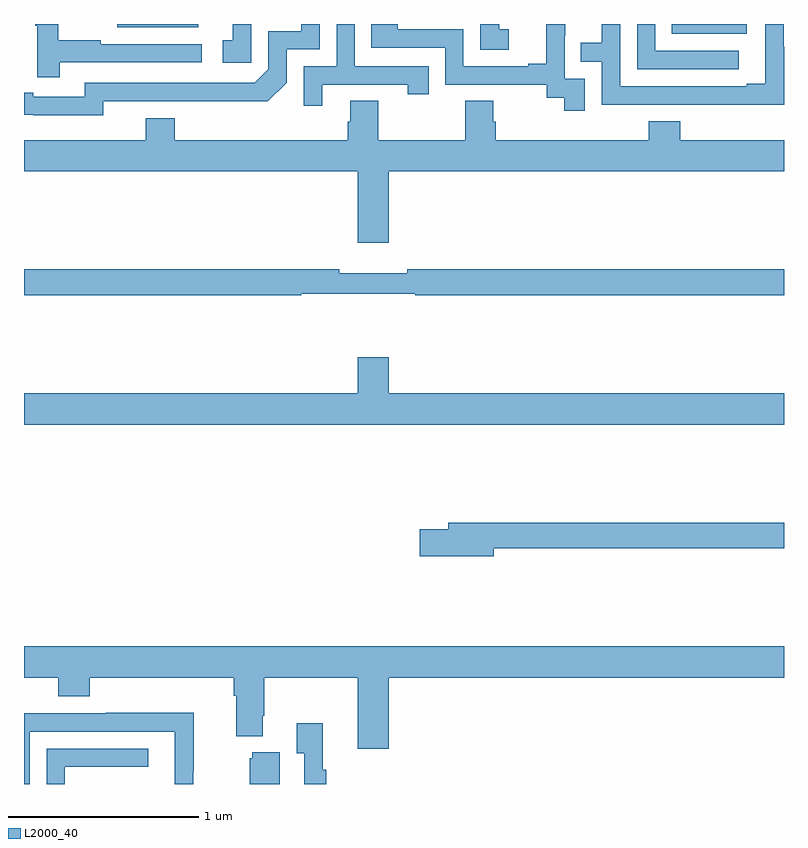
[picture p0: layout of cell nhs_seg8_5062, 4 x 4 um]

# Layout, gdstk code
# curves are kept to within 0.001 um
import gdstk
lib = gdstk.Library(unit=1e-6, precision=1e-09)
def R(c, l, rs):  # rectangles x0, y0, x1, y1
    for r in rs: c.add(gdstk.rectangle(r[:2], r[2:], *l))
def P(c, l, *ps):  # polygons
    for p in ps: c.add(gdstk.Polygon(p, *l))
L2000_40 = (2000, 40)

nhs_seg8_5062 = lib.new_cell('nhs_seg8_5062')
R(nhs_seg8_5062, L2000_40, [(418.408,1159.85,418.804,1159.9), (415.491,1159.883,415.918,1159.9)])
P(nhs_seg8_5062, L2000_40, [(415.187,1159.698),(415.936,1159.698),(415.936,1159.794),(415.403,1159.794),(415.403,1159.814),(415.18,1159.814),(415.18,1159.9),(415.059,1159.9),(415.059,1159.891),(415.07,1159.891),(415.07,1159.62),(415.187,1159.62)],
  [(419,1159.781),(418.998,1159.781),(418.998,1159.9),(418.902,1159.9),(418.902,1159.585),(418.805,1159.585),(418.805,1159.572),(418.137,1159.572),(418.137,1159.9),(418.041,1159.9),(418.041,1159.802),(417.931,1159.802),(417.931,1159.701),(418.041,1159.701),(418.041,1159.476),(418.537,1159.476),(418.537,1159.475),(419,1159.475)],
  [(416.196,1159.9),(416.099,1159.9),(416.099,1159.815),(416.046,1159.815),(416.046,1159.695),(416.196,1159.695)],
  [(415.416,1159.494),(416.284,1159.493),(416.382,1159.59),(416.382,1159.767),(416.556,1159.767),(416.556,1159.9),(416.459,1159.9),(416.459,1159.863),(416.286,1159.863),(416.286,1159.662),(416.214,1159.59),(415.32,1159.59),(415.32,1159.518),(415.048,1159.518),(415.048,1159.538),(415,1159.538),(415,1159.422),(415.416,1159.421)],
  [(418.762,1159.758),(418.323,1159.758),(418.323,1159.9),(418.227,1159.9),(418.227,1159.662),(418.762,1159.662)],
  [(417.951,1159.611),(417.846,1159.611),(417.846,1159.841),(417.848,1159.841),(417.848,1159.9),(417.749,1159.9),(417.749,1159.69),(417.653,1159.69),(417.653,1159.677),(417.312,1159.677),(417.312,1159.872),(416.967,1159.872),(416.967,1159.899),(416.827,1159.899),(416.827,1159.776),(417.216,1159.776),(417.216,1159.581),(417.75,1159.581),(417.75,1159.513),(417.843,1159.513),(417.843,1159.443),(417.951,1159.443)],
  [(416.569,1159.581),(417.02,1159.581),(417.02,1159.53),(417.131,1159.53),(417.131,1159.677),(416.742,1159.677),(416.742,1159.9),(416.646,1159.9),(416.646,1159.677),(416.472,1159.677),(416.472,1159.47),(416.569,1159.47)],
  [(417.55,1159.873),(417.501,1159.873),(417.501,1159.9),(417.402,1159.9),(417.402,1159.764),(417.55,1159.764)],
  [(416.865,1159.496),(416.717,1159.496),(416.717,1159.386),(416.705,1159.386),(416.705,1159.288),(415.793,1159.288),(415.793,1159.405),(415.64,1159.405),(415.64,1159.288),(415,1159.288),(415,1159.124),(416.756,1159.124),(416.756,1158.75),(416.92,1158.75),(416.92,1159.124),(419,1159.124),(419,1159.288),(418.454,1159.288),(418.454,1159.387),(418.289,1159.387),(418.289,1159.288),(417.482,1159.288),(417.482,1159.386),(417.469,1159.386),(417.469,1159.496),(417.322,1159.496),(417.322,1159.288),(416.865,1159.288)],
  [(416.458,1158.48),(417.058,1158.48),(417.058,1158.472),(419,1158.472),(419,1158.608),(417.016,1158.608),(417.016,1158.589),(416.66,1158.589),(416.66,1158.608),(415,1158.608),(415,1158.472),(416.458,1158.472)],
  [(419,1157.956),(416.92,1157.956),(416.92,1158.145),(416.756,1158.145),(416.756,1157.956),(415,1157.956),(415,1157.792),(419,1157.792)],
  [(417.472,1157.14),(419,1157.14),(419,1157.276),(417.233,1157.276),(417.233,1157.24),(417.084,1157.24),(417.084,1157.098),(417.472,1157.098)],
  [(416.92,1156.46),(419,1156.46),(419,1156.624),(415,1156.624),(415,1156.46),(415.181,1156.46),(415.181,1156.361),(415.346,1156.361),(415.346,1156.46),(416.105,1156.46),(416.105,1156.364),(416.117,1156.364),(416.117,1156.151),(416.257,1156.151),(416.257,1156.258),(416.265,1156.258),(416.265,1156.46),(416.756,1156.46),(416.756,1156.086),(416.92,1156.086)],
  [(415.029,1156.176),(415.794,1156.176),(415.794,1155.9),(415.89,1155.9),(415.89,1155.967),(415.893,1155.967),(415.893,1156.274),(415.429,1156.274),(415.429,1156.272),(415,1156.272),(415,1155.9),(415.029,1155.9)],
  [(416.591,1155.974),(416.573,1155.974),(416.573,1156.219),(416.435,1156.219),(416.435,1156.063),(416.475,1156.063),(416.475,1155.9),(416.591,1155.9)],
  [(415.215,1155.99),(415.654,1155.99),(415.654,1156.086),(415.119,1156.086),(415.119,1155.9),(415.215,1155.9)],
  [(416.347,1156.066),(416.201,1156.066),(416.201,1156.035),(416.189,1156.035),(416.189,1155.9),(416.347,1155.9)])

lib.write_gds('nhs_seg8_5062.gds')
